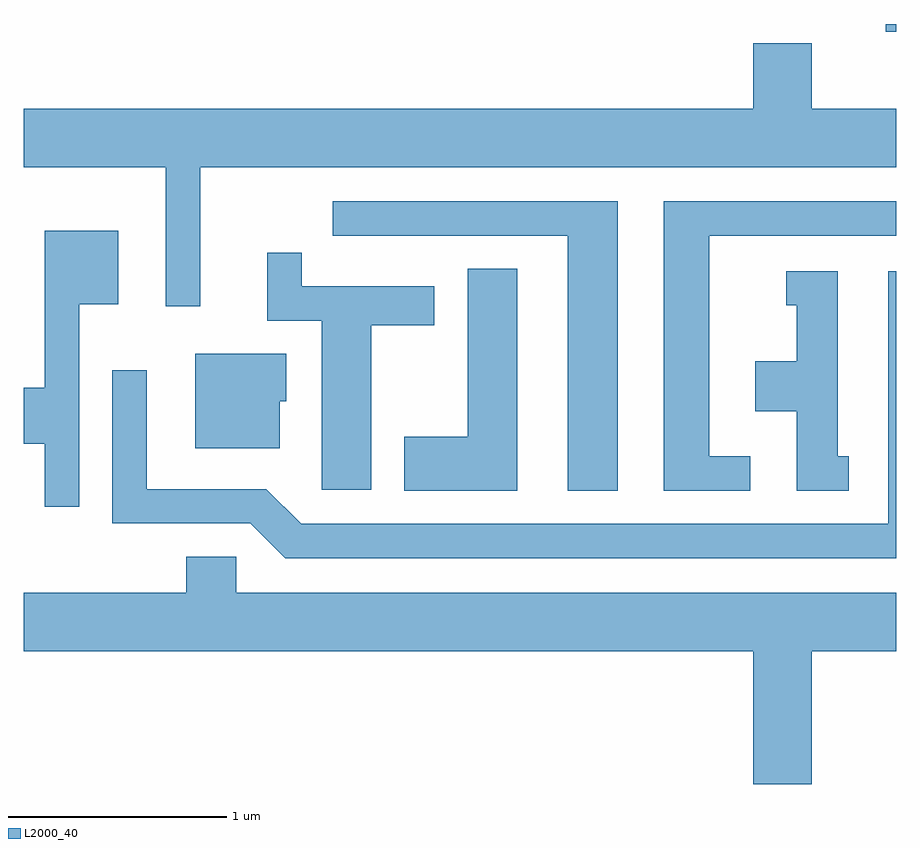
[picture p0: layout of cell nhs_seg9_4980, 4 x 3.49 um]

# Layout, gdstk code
import gdstk
lib = gdstk.Library(unit=1e-6, precision=1e-09)
def R(c, l, rs):  # rectangles x0, y0, x1, y1
    for r in rs: c.add(gdstk.rectangle(r[:2], r[2:], *l))
def P(c, l, *ps):  # polygons
    for p in ps: c.add(gdstk.Polygon(p, *l))
L2000_40 = (2000, 40)

nhs_seg9_4980 = lib.new_cell('nhs_seg9_4980')
R(nhs_seg9_4980, L2000_40, [(335.563,2032.396,335.611,2032.432)])
P(nhs_seg9_4980, L2000_40, [(332.419,2031.776),(335.611,2031.776),(335.611,2032.044),(335.224,2032.044),(335.224,2032.344),(334.956,2032.344),(334.956,2032.044),(331.611,2032.044),(331.611,2031.776),(332.261,2031.776),(332.261,2031.138),(332.419,2031.138)],
  [(334.943,2030.449),(334.754,2030.449),(334.754,2031.461),(335.611,2031.461),(335.611,2031.619),(334.546,2031.619),(334.546,2030.291),(334.943,2030.291)],
  [(334.334,2031.619),(333.028,2031.619),(333.028,2031.461),(334.106,2031.461),(334.106,2030.291),(334.334,2030.291)],
  [(331.864,2031.146),(332.044,2031.146),(332.044,2031.484),(331.706,2031.484),(331.706,2030.764),(331.611,2030.764),(331.611,2030.506),(331.706,2030.506),(331.706,2030.218),(331.864,2030.218)],
  [(333.204,2031.051),(333.494,2031.051),(333.494,2031.229),(332.884,2031.229),(332.884,2031.383),(332.726,2031.383),(332.726,2031.071),(332.976,2031.071),(332.976,2030.296),(333.204,2030.296)],
  [(333.874,2031.309),(333.646,2031.309),(333.646,2030.539),(333.356,2030.539),(333.356,2030.291),(333.874,2030.291)],
  [(335.393,2030.449),(335.344,2030.449),(335.344,2031.299),(335.108,2031.299),(335.108,2031.141),(335.156,2031.141),(335.156,2030.884),(334.966,2030.884),(334.966,2030.656),(335.156,2030.656),(335.156,2030.291),(335.393,2030.291)],
  [(335.611,2031.299),(335.576,2031.299),(335.576,2030.139),(332.882,2030.139),(332.722,2030.299),(332.174,2030.299),(332.174,2030.843),(332.016,2030.843),(332.016,2030.141),(332.649,2030.141),(332.809,2029.981),(335.611,2029.981)],
  [(332.784,2030.701),(332.814,2030.701),(332.814,2030.919),(332.396,2030.919),(332.396,2030.486),(332.784,2030.486)],
  [(335.224,2029.556),(335.611,2029.556),(335.611,2029.824),(332.584,2029.824),(332.584,2029.989),(332.356,2029.989),(332.356,2029.824),(331.611,2029.824),(331.611,2029.556),(334.956,2029.556),(334.956,2028.946),(335.224,2028.946)])

lib.write_gds('nhs_seg9_4980.gds')
